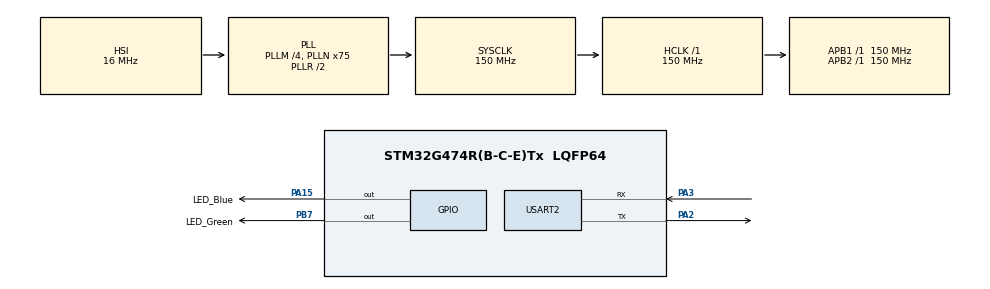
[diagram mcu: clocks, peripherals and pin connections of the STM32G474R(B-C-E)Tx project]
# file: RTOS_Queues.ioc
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FREERTOS.Tasks01=defaultTask,24,128,StartDefaultTask,Default,NULL,Dynamic,NULL,NULL
Mcu.Family=STM32G4
Mcu.Name=STM32G474R(B-C-E)Tx
Mcu.Package=LQFP64
NVIC.PriorityGroup=NVIC_PRIORITYGROUP_4
NVIC.TIM6_DAC_IRQn=true\:15\:0\:false\:false\:true\:false\:false\:true\:true
NVIC.TimeBase=TIM6_DAC_IRQn
NVIC.TimeBaseIP=TIM6
NVIC.USART2_IRQn=true\:5\:0\:false\:false\:true\:true\:true\:true\:true
PA15.GPIO_Label=LED_Blue
PA15.Signal=GPIO_Output
PA2.Mode=Asynchronous
PA2.Signal=USART2_TX
PA3.Mode=Asynchronous
PA3.Signal=USART2_RX
PB7.GPIO_Label=LED_Green
PB7.Signal=GPIO_Output
ProjectManager.HeapSize=0x200
ProjectManager.StackSize=0x400
ProjectManager.TargetToolchain=STM32CubeIDE
RCC.ADC12Freq_Value=150000000
RCC.ADC345Freq_Value=150000000
RCC.AHBFreq_Value=150000000
RCC.APB1Freq_Value=150000000
RCC.APB1TimFreq_Value=150000000
RCC.APB2Freq_Value=150000000
RCC.APB2TimFreq_Value=150000000
RCC.CortexFreq_Value=150000000
RCC.EXTERNAL_CLOCK_VALUE=12288000
RCC.HCLKFreq_Value=150000000
RCC.HSE_VALUE=8000000
RCC.HSI48_VALUE=48000000
RCC.HSI_VALUE=16000000
RCC.LSE_VALUE=32768
RCC.PLLM=RCC_PLLM_DIV4
RCC.PLLN=75
RCC.SYSCLKFreq_VALUE=150000000
RCC.SYSCLKSource=RCC_SYSCLKSOURCE_PLLCLK
RCC.USBFreq_Value=150000000
RCC.VCOOutputFreq_Value=300000000
USART2.VirtualMode-Asynchronous=VM_ASYNC
VP_FREERTOS_VS_CMSIS_V2.Mode=CMSIS_V2
VP_SYS_VS_DBSignals.Mode=DisableDeadBatterySignals
VP_SYS_VS_tim6.Mode=TIM6
board=custom

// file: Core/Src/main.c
/* USER CODE BEGIN Header */
/**
  ******************************************************************************
  * @file           : main.c
  * @brief          : Main program body
  ******************************************************************************
  * @attention
  *
  * Copyright (c) 2023 STMicroelectronics.
  * All rights reserved.
  *
  * This software is licensed under terms that can be found in the LICENSE file
  * in the root directory of this software component.
  * If no LICENSE file comes with this software, it is provided AS-IS.
  *
  ******************************************************************************
  */
/* USER CODE END Header */
#include "main.h"
#include "cmsis_os.h"

/* USER CODE BEGIN Includes */
#include "queue.h"
#include <stdio.h>
#include <string.h>
#include <stdint.h>
/* USER CODE END Includes */

UART_HandleTypeDef huart2;

/* Definitions for defaultTask */
osThreadId_t defaultTaskHandle;
const osThreadAttr_t defaultTask_attributes = {
  .name = "defaultTask",
  .priority = (osPriority_t) osPriorityNormal,
  .stack_size = 128 * 4
};
/* USER CODE BEGIN PV */
#define DWT_CTRL (*(volatile uint32_t*) 0xE0001000)		// Bit 0 in this register can enable/disable the DWT_CYCCNT register

QueueHandle_t xQueue;
/* USER CODE END PV */

void SystemClock_Config(void);
static void MX_GPIO_Init(void);
static void MX_USART2_UART_Init(void);
void StartDefaultTask(void *argument);

/* USER CODE BEGIN PFP */
void vTaskLedBlue(void *pvParameters);
void vTaskLedGreen(void *pvParameters);
void vTaskSendQueue(void *pvParameters);
void vTaskReceiveQueue(void *pvParameters);
/* USER CODE END PFP */

int main(void)
{

  /* MCU Configuration--------------------------------------------------------*/

  /* Reset of all peripherals, Initializes the Flash interface and the Systick. */
  HAL_Init();

  /* Configure the system clock */
  SystemClock_Config();

  /* Initialize all configured peripherals */
  MX_GPIO_Init();
  MX_USART2_UART_Init();

  /* Init scheduler */
  osKernelInitialize();

  /* USER CODE BEGIN RTOS_QUEUES */
  /* add queues, ... */
  // Create a 10 element 32bit queue
  xQueue = xQueueCreate(10, sizeof(uint32_t));
  if (xQueue == NULL)
  {
	  // Queue created failed ! Transmit a message on the UART
	  char queue_error_msg[] = "Error during Queue creation !";
	  HAL_UART_Transmit(&huart2, (uint8_t*)queue_error_msg, strlen(queue_error_msg), 1000);
  }
  /* USER CODE END RTOS_QUEUES */

  /* Create the thread(s) */
  /* creation of defaultTask */
  //defaultTaskHandle = osThreadNew(StartDefaultTask, NULL, &defaultTask_attributes);

  /* USER CODE BEGIN RTOS_THREADS */
  // Enable the DWT_CYCCNT register (the cycle counter, to enable SEGGER time stamps)
  DWT_CTRL |= (1 << 0);

  SEGGER_SYSVIEW_Conf();
  SEGGER_SYSVIEW_Start();

  /* add threads, ... */
  // Blue LED task
  if((xTaskCreate(vTaskLedBlue, "Task LED Blue", configMINIMAL_STACK_SIZE, NULL, 1, NULL)) != pdTRUE)
  {
	  // Task Creation failed
	  char task1_error_msg[] = "Error during Blue LED task creation !";
	  HAL_UART_Transmit(&huart2, (uint8_t*)task1_error_msg, strlen(task1_error_msg), 1000);
  }

  // Green LED task
  if((xTaskCreate(vTaskLedGreen, "Task LED Green", configMINIMAL_STACK_SIZE, NULL, 1, NULL)) != pdTRUE)
  {
	  // Task Creation failed
	  char task2_error_msg[] = "Error during Green LED task creation !";
	  HAL_UART_Transmit(&huart2, (uint8_t*)task2_error_msg, strlen(task2_error_msg), 1000);
  }

  // Create a task to send the queue
  if((xTaskCreate(vTaskSendQueue, "Task Send Queue", configMINIMAL_STACK_SIZE, NULL, 1, NULL)) != pdTRUE)
  {
	  // Task Creation failed
	  char queue_send_task_error_msg[] = "Error during queue send task creation !";
	  HAL_UART_Transmit(&huart2, (uint8_t*)queue_send_task_error_msg, strlen(queue_send_task_error_msg), 1000);
  }

  // Create a task to receive the queue
  if((xTaskCreate(vTaskReceiveQueue, "Task Receive Queue", configMINIMAL_STACK_SIZE, NULL, 1, NULL)) != pdTRUE)
  {
	  // Task Creation failed
	  char queue_receive_task_error_msg[] = "Error during queue receive task creation !";
	  HAL_UART_Transmit(&huart2, (uint8_t*)queue_receive_task_error_msg, strlen(queue_receive_task_error_msg), 1000);
  }
  /* USER CODE END RTOS_THREADS */

  /* Start scheduler */
  osKernelStart();

  /* We should never get here as control is now taken by the scheduler */
  /* Infinite loop */
  while (1)
  {

  }
}

void SystemClock_Config(void)
{
  RCC_OscInitTypeDef RCC_OscInitStruct = {0};
  RCC_ClkInitTypeDef RCC_ClkInitStruct = {0};

  /** Configure the main internal regulator output voltage
  */
  HAL_PWREx_ControlVoltageScaling(PWR_REGULATOR_VOLTAGE_SCALE1);

  /** Initializes the RCC Oscillators according to the specified parameters
  * in the RCC_OscInitTypeDef structure.
  */
  RCC_OscInitStruct.OscillatorType = RCC_OSCILLATORTYPE_HSI;
  RCC_OscInitStruct.HSIState = RCC_HSI_ON;
  RCC_OscInitStruct.HSICalibrationValue = RCC_HSICALIBRATION_DEFAULT;
  RCC_OscInitStruct.PLL.PLLState = RCC_PLL_ON;
  RCC_OscInitStruct.PLL.PLLSource = RCC_PLLSOURCE_HSI;
  RCC_OscInitStruct.PLL.PLLM = RCC_PLLM_DIV4;
  RCC_OscInitStruct.PLL.PLLN = 75;
  RCC_OscInitStruct.PLL.PLLP = RCC_PLLP_DIV2;
  RCC_OscInitStruct.PLL.PLLQ = RCC_PLLQ_DIV2;
  RCC_OscInitStruct.PLL.PLLR = RCC_PLLR_DIV2;
  if (HAL_RCC_OscConfig(&RCC_OscInitStruct) != HAL_OK)
  {
    Error_Handler();
  }

  /** Initializes the CPU, AHB and APB buses clocks
  */
  RCC_ClkInitStruct.ClockType = RCC_CLOCKTYPE_HCLK|RCC_CLOCKTYPE_SYSCLK
                              |RCC_CLOCKTYPE_PCLK1|RCC_CLOCKTYPE_PCLK2;
  RCC_ClkInitStruct.SYSCLKSource = RCC_SYSCLKSOURCE_PLLCLK;
  RCC_ClkInitStruct.AHBCLKDivider = RCC_SYSCLK_DIV1;
  RCC_ClkInitStruct.APB1CLKDivider = RCC_HCLK_DIV1;
  RCC_ClkInitStruct.APB2CLKDivider = RCC_HCLK_DIV1;

  if (HAL_RCC_ClockConfig(&RCC_ClkInitStruct, FLASH_LATENCY_4) != HAL_OK)
  {
    Error_Handler();
  }
}

static void MX_USART2_UART_Init(void)
{

  huart2.Instance = USART2;
  huart2.Init.BaudRate = 115200;
  huart2.Init.WordLength = UART_WORDLENGTH_8B;
  huart2.Init.StopBits = UART_STOPBITS_1;
  huart2.Init.Parity = UART_PARITY_NONE;
  huart2.Init.Mode = UART_MODE_TX_RX;
  huart2.Init.HwFlowCtl = UART_HWCONTROL_NONE;
  huart2.Init.OverSampling = UART_OVERSAMPLING_16;
  huart2.Init.OneBitSampling = UART_ONE_BIT_SAMPLE_DISABLE;
  huart2.Init.ClockPrescaler = UART_PRESCALER_DIV1;
  huart2.AdvancedInit.AdvFeatureInit = UART_ADVFEATURE_NO_INIT;
  if (HAL_UART_Init(&huart2) != HAL_OK)
  {
    Error_Handler();
  }
  if (HAL_UARTEx_SetTxFifoThreshold(&huart2, UART_TXFIFO_THRESHOLD_1_8) != HAL_OK)
  {
    Error_Handler();
  }
  if (HAL_UARTEx_SetRxFifoThreshold(&huart2, UART_RXFIFO_THRESHOLD_1_8) != HAL_OK)
  {
    Error_Handler();
  }
  if (HAL_UARTEx_DisableFifoMode(&huart2) != HAL_OK)
  {
    Error_Handler();
  }

}

static void MX_GPIO_Init(void)
{
  GPIO_InitTypeDef GPIO_InitStruct = {0};

  /* GPIO Ports Clock Enable */
  __HAL_RCC_GPIOA_CLK_ENABLE();
  __HAL_RCC_GPIOB_CLK_ENABLE();

  /*Configure GPIO pin Output Level */
  HAL_GPIO_WritePin(LED_Blue_GPIO_Port, LED_Blue_Pin, GPIO_PIN_RESET);

  /*Configure GPIO pin Output Level */
  HAL_GPIO_WritePin(LED_Green_GPIO_Port, LED_Green_Pin, GPIO_PIN_RESET);

  /*Configure GPIO pin : LED_Blue_Pin */
  GPIO_InitStruct.Pin = LED_Blue_Pin;
  GPIO_InitStruct.Mode = GPIO_MODE_OUTPUT_PP;
  GPIO_InitStruct.Pull = GPIO_NOPULL;
  GPIO_InitStruct.Speed = GPIO_SPEED_FREQ_LOW;
  HAL_GPIO_Init(LED_Blue_GPIO_Port, &GPIO_InitStruct);

  /*Configure GPIO pin : LED_Green_Pin */
  GPIO_InitStruct.Pin = LED_Green_Pin;
  GPIO_InitStruct.Mode = GPIO_MODE_OUTPUT_PP;
  GPIO_InitStruct.Pull = GPIO_NOPULL;
  GPIO_InitStruct.Speed = GPIO_SPEED_FREQ_LOW;
  HAL_GPIO_Init(LED_Green_GPIO_Port, &GPIO_InitStruct);

}

/* USER CODE BEGIN 4 */
void vTaskLedBlue(void *pvParameters)
{
	//Variable Declarations

	//Infinite Loop
	for(;;)
	{
		HAL_GPIO_TogglePin(LED_Blue_GPIO_Port, LED_Blue_Pin);
		vTaskDelay(100 / portTICK_PERIOD_MS);
	}

	//Delete the task if the loop is broken
	vTaskDelete(NULL);
}

void vTaskLedGreen(void *pvParameters)
{
	//Variable Declarations

	//Infinite Loop
	for(;;)
	{
		HAL_GPIO_TogglePin(LED_Green_GPIO_Port, LED_Green_Pin);
		vTaskDelay(50 / portTICK_PERIOD_MS);
	}

	//Delete the task if the loop is broken
	vTaskDelete(NULL);
}

void vTaskSendQueue(void *pvParameters)
{
	//Variable Declarations
	uint32_t counterSend = 0;
	char txText[50];

	//Infinite Loop
	for(;;)
	{
		// If the queue is full, wait until the queue becomes free
		// Careful that if the queue never free up, the task will wait forever
		// NOTE : using portMAX_DELAY will make it sit there and wait for space to empty up in the queue
		// If we don't want that, we need to use another value
		//if((xQueueSend(xQueue, &counterSend, portMAX_DELAY)) == pdPASS)
		if((xQueueSend(xQueue, &counterSend, 10 / portTICK_PERIOD_MS)) == pdPASS)
		{
			sprintf(txText, "Queue Send, value: %ld \n", counterSend);
			//taskENTER_CRITICAL();
			vTaskSuspendAll();			// Temporary measure, suspends all other tasks to prevent them from using the resource (USART)
			HAL_UART_Transmit(&huart2, (uint8_t*)txText, strlen(txText), 1000);
			//taskEXIT_CRITICAL();
			xTaskResumeAll();
			counterSend++;
		}
		else
		{
			vTaskSuspendAll();
			sprintf(txText, "Queue is full !\n");
			HAL_UART_Transmit(&huart2, (uint8_t*)txText, strlen(txText), 1000);
			xTaskResumeAll();
		}

		vTaskDelay(100 / portTICK_PERIOD_MS);
	}

	//Delete the task if the loop is broken
	vTaskDelete(NULL);
}

void vTaskReceiveQueue(void *pvParameters)
{
	//Variable Declarations
	uint32_t counterReceive = 0;
	char txText[50];

	//Infinite Loop
	for(;;)
	{
		// Wait until the queue receives some value
		if((xQueueReceive(xQueue, &counterReceive, portMAX_DELAY)) == pdPASS)
		{
			sprintf(txText, "Queue Receive, value: %ld \n", counterReceive);
			//taskENTER_CRITICAL();
			vTaskSuspendAll();			// Temporary measure, suspends all other tasks to prevent them from using the resource (USART)
			HAL_UART_Transmit(&huart2, (uint8_t*)txText, strlen(txText), 1000);
			//taskEXIT_CRITICAL();
			xTaskResumeAll();
		}

		vTaskDelay(20 / portTICK_PERIOD_MS);
	}

	//Delete the task if the loop is broken
	vTaskDelete(NULL);
}
/* USER CODE END 4 */

void StartDefaultTask(void *argument)
{
  for(;;)
  {
    osDelay(1);
  }
}

void HAL_TIM_PeriodElapsedCallback(TIM_HandleTypeDef *htim)
{
  if (htim->Instance == TIM6) {
    HAL_IncTick();
  }
}

void Error_Handler(void)
{
  __disable_irq();
  while (1)
  {
  }
}
